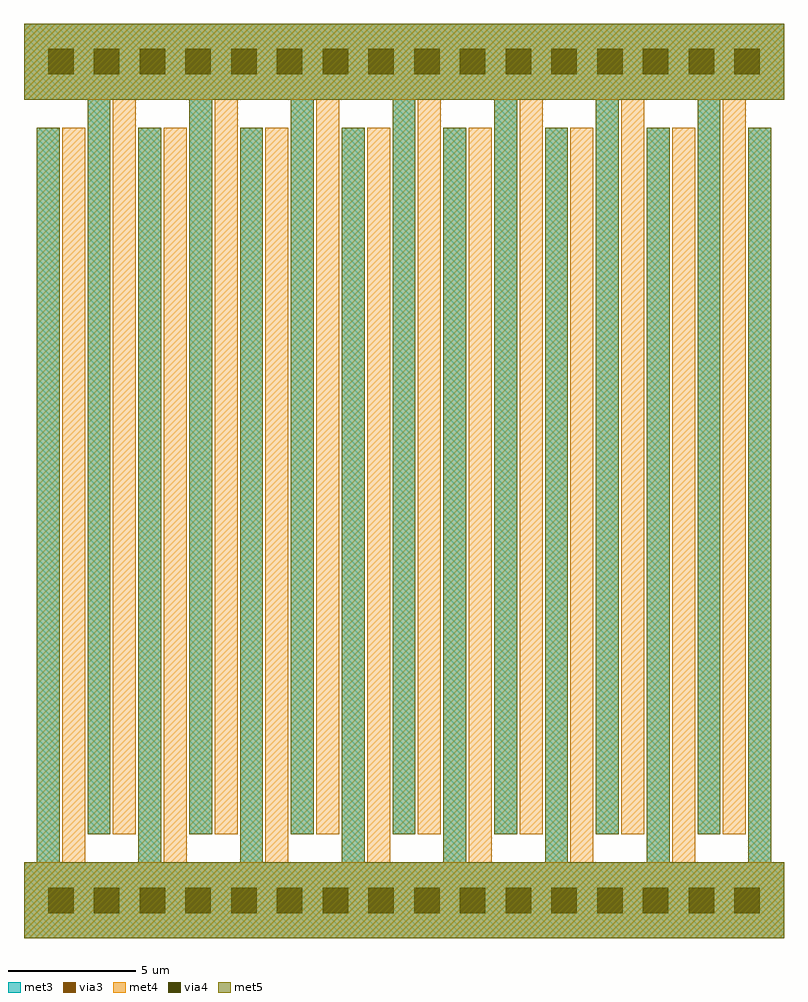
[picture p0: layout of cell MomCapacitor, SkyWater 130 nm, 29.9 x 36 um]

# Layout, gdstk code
import gdstk
lib = gdstk.Library(unit=1e-6, precision=1e-09)
def R(c, l, rs):  # rectangles x0, y0, x1, y1
    for r in rs: c.add(gdstk.rectangle(r[:2], r[2:], *l))
def A(c, l, x, y, w, h, nx, ny, dx, dy):  # array of equal rectangles
    R(c, l, [(x+i*dx, y+j*dy, x+i*dx+w, y+j*dy+h) for i in range(nx) for j in range(ny)])
def P(c, l, *ps):  # polygons
    for p in ps: c.add(gdstk.Polygon(p, *l))
met3 = (70, 20)
via3 = (70, 44)
met4 = (71, 20)
via4 = (71, 44)
met5 = (72, 20)

momcapacitor = lib.new_cell('MomCapacitor')
P(momcapacitor, met3, [(-14.951,-18),(14.951,-18),(14.951,-15),(14.45,-15),(14.45,13.901),(13.55,13.901),(13.55,-15),(10.45,-15),(10.45,13.901),(9.55,13.901),(9.55,-15),(6.45,-15),(6.45,13.901),(5.55,13.901),(5.55,-15),(2.45,-15),(2.45,13.901),(1.55,13.901),(1.55,-15),(-1.55,-15),(-1.55,13.901),(-2.45,13.901),(-2.45,-15),(-5.55,-15),(-5.55,13.901),(-6.45,13.901),(-6.45,-15),(-9.55,-15),(-9.55,13.901),(-10.45,13.901),(-10.45,-15),(-13.55,-15),(-13.55,13.901),(-14.45,13.901),(-14.45,-15),(-14.951,-15)],
  [(-14.951,15),(-12.45,15),(-12.45,-13.901),(-11.55,-13.901),(-11.55,15),(-8.45,15),(-8.45,-13.901),(-7.55,-13.901),(-7.55,15),(-4.45,15),(-4.45,-13.901),(-3.55,-13.901),(-3.55,15),(-0.45,15),(-0.45,-13.901),(0.45,-13.901),(0.45,15),(3.55,15),(3.55,-13.901),(4.45,-13.901),(4.45,15),(7.55,15),(7.55,-13.901),(8.45,-13.901),(8.45,15),(11.55,15),(11.55,-13.901),(12.45,-13.901),(12.45,15),(14.951,15),(14.951,18),(-14.951,18)])
A(momcapacitor, via3, -14.001, -17.001, 1.002, 1.002, 16, 2, 1.8, 33)
P(momcapacitor, met4, [(-14.951,-18),(14.951,-18),(14.951,-15),(11.45,-15),(11.45,13.901),(10.55,13.901),(10.55,-15),(7.45,-15),(7.45,13.901),(6.55,13.901),(6.55,-15),(3.45,-15),(3.45,13.901),(2.55,13.901),(2.55,-15),(-0.55,-15),(-0.55,13.901),(-1.45,13.901),(-1.45,-15),(-4.55,-15),(-4.55,13.901),(-5.45,13.901),(-5.45,-15),(-8.55,-15),(-8.55,13.901),(-9.45,13.901),(-9.45,-15),(-12.55,-15),(-12.55,13.901),(-13.45,13.901),(-13.45,-15),(-14.951,-15)],
  [(-14.951,15),(-11.45,15),(-11.45,-13.901),(-10.55,-13.901),(-10.55,15),(-7.45,15),(-7.45,-13.901),(-6.55,-13.901),(-6.55,15),(-3.45,15),(-3.45,-13.901),(-2.55,-13.901),(-2.55,15),(0.55,15),(0.55,-13.901),(1.45,-13.901),(1.45,15),(4.55,15),(4.55,-13.901),(5.45,-13.901),(5.45,15),(8.55,15),(8.55,-13.901),(9.45,-13.901),(9.45,15),(12.55,15),(12.55,-13.901),(13.45,-13.901),(13.45,15),(14.951,15),(14.951,18),(-14.951,18)])
A(momcapacitor, via4, -14.001, -17.001, 1.002, 1.002, 16, 2, 1.8, 33)
P(momcapacitor, met5, [(-14.951,-18),(14.951,-18),(14.951,-15),(14.45,-15),(14.45,13.901),(13.55,13.901),(13.55,-15),(10.45,-15),(10.45,13.901),(9.55,13.901),(9.55,-15),(6.45,-15),(6.45,13.901),(5.55,13.901),(5.55,-15),(2.45,-15),(2.45,13.901),(1.55,13.901),(1.55,-15),(-1.55,-15),(-1.55,13.901),(-2.45,13.901),(-2.45,-15),(-5.55,-15),(-5.55,13.901),(-6.45,13.901),(-6.45,-15),(-9.55,-15),(-9.55,13.901),(-10.45,13.901),(-10.45,-15),(-13.55,-15),(-13.55,13.901),(-14.45,13.901),(-14.45,-15),(-14.951,-15)],
  [(-14.951,15),(-12.45,15),(-12.45,-13.901),(-11.55,-13.901),(-11.55,15),(-8.45,15),(-8.45,-13.901),(-7.55,-13.901),(-7.55,15),(-4.45,15),(-4.45,-13.901),(-3.55,-13.901),(-3.55,15),(-0.45,15),(-0.45,-13.901),(0.45,-13.901),(0.45,15),(3.55,15),(3.55,-13.901),(4.45,-13.901),(4.45,15),(7.55,15),(7.55,-13.901),(8.45,-13.901),(8.45,15),(11.55,15),(11.55,-13.901),(12.45,-13.901),(12.45,15),(14.951,15),(14.951,18),(-14.951,18)])

lib.write_gds('MomCapacitor.gds')
